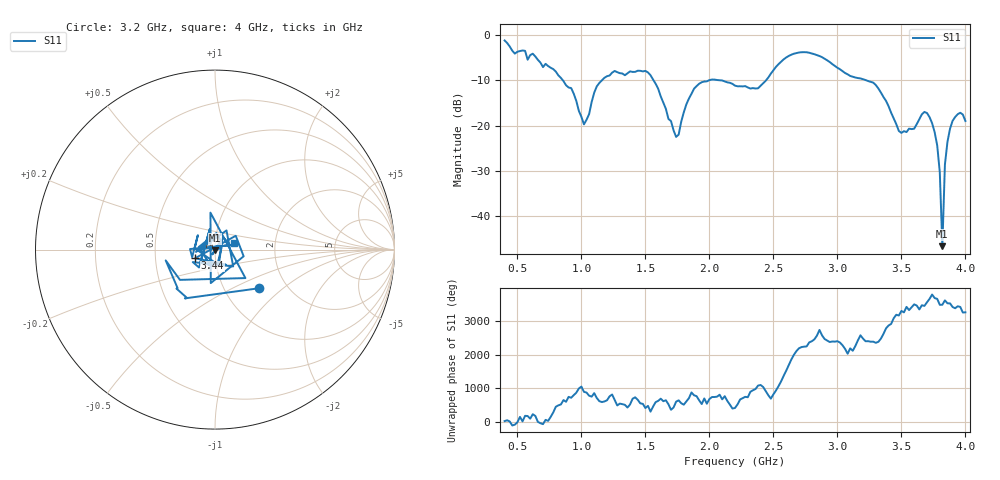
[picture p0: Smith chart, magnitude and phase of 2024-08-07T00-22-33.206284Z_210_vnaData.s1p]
!Created with skrf (http://scikit-rf.org).
# Hz S RI R 50.0
!freq ReS11 ImS11
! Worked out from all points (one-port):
!   181 points, 400 MHz to 4 GHz, reference 50 ohm
!   lowest |S11| = -46.6 dB at 3.82 GHz (marker M1), VSWR 1.01, Z = 49.8 - j0.421 ohm
!   |S11| at or under -10 dB: 1.564 GHz to 1.995 GHz (430.8 MHz wide, 24.2 % of centre); 2.095 GHz to 2.442 GHz (346.7 MHz wide, 15.3 % of centre); 3.228 GHz to end of sweep (the widest 3 of 4)
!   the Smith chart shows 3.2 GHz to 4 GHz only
!   S11 on the Smith chart (normalised r, x): 3.2 GHz: 1.45, -0.70; 3.44 GHz: 0.80, -0.08; 4 GHz: 1.24, +0.09
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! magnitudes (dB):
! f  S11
! 400 MHz  -1.2
! 860 MHz  -10.1
! 920 MHz  -11.7
! 1.02 GHz  -19.7
! 1.12 GHz  -11.3
! 1.3 GHz  -8.4
! 1.52 GHz  -8.2
! 1.76 GHz  -21.9
! 1.82 GHz  -15.3
! 1.92 GHz  -10.7
! 2.2 GHz  -11.1
! 2.38 GHz  -11.7
! 2.66 GHz  -4.1
! 3.1 GHz  -9.0
! 3.2 GHz  -9.7
! 3.3 GHz  -11.0
! 3.44 GHz  -18.4
! 3.5 GHz  -21.6
! 3.56 GHz  -20.6
! 3.68 GHz  -16.9
! 3.74 GHz  -19.4
! 3.78 GHz  -24.4
! 3.8 GHz  -30.3
! 3.82 GHz  -46.6
! 3.84 GHz  -28.6
! 3.86 GHz  -23.5
! 3.92 GHz  -18.1
! 4 GHz  -19.0
